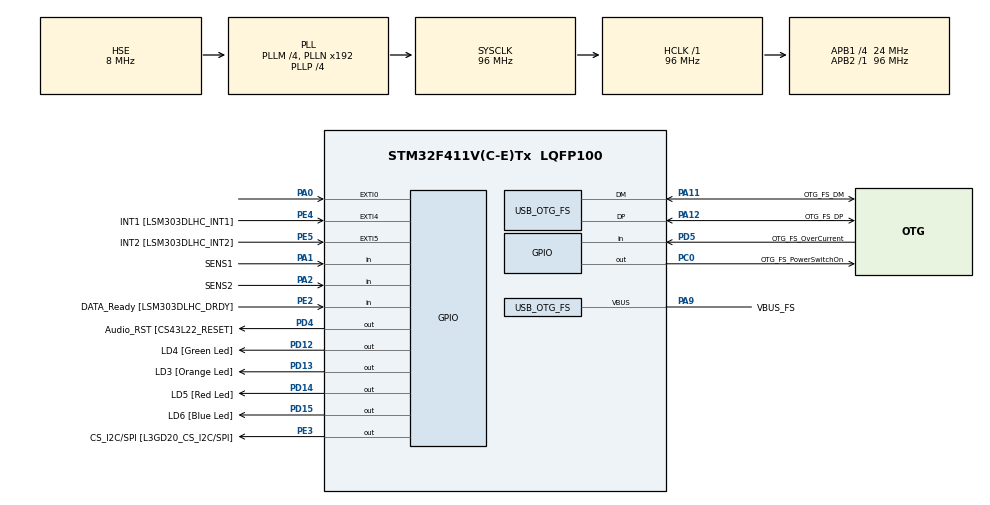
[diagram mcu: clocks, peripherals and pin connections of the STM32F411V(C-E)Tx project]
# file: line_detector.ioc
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Mcu.Family=STM32F4
Mcu.Name=STM32F411V(C-E)Tx
Mcu.Package=LQFP100
NVIC.OTG_FS_IRQn=true\:0\:0\:false\:false\:true\:true\:true\:true
NVIC.PriorityGroup=NVIC_PRIORITYGROUP_0
NVIC.TIM2_IRQn=true\:0\:0\:false\:false\:true\:true\:true\:true
PA0-WKUP.GPIO_ModeDefaultEXTI=GPIO_MODE_EVT_RISING
PA0-WKUP.Signal=GPXTI0
PA1.GPIO_Label=SENS1
PA1.Signal=GPIO_Input
PA10.GPIO_Label=OTG_FS_ID
PA10.Signal=USB_OTG_FS_ID
PA11.GPIO_Label=OTG_FS_DM
PA11.Mode=Device_Only
PA11.Signal=USB_OTG_FS_DM
PA12.GPIO_Label=OTG_FS_DP
PA12.Mode=Device_Only
PA12.Signal=USB_OTG_FS_DP
PA13.GPIO_Label=SWDIO
PA13.Mode=Serial_Wire
PA13.Signal=SYS_JTMS-SWDIO
PA14.GPIO_Label=SWCLK
PA14.Mode=Serial_Wire
PA14.Signal=SYS_JTCK-SWCLK
PA2.GPIO_Label=SENS2
PA2.Signal=GPIO_Input
PA4.GPIO_Label=I2S3_WS [CS43L22_LRCK]
PA4.GPIO_Mode=GPIO_MODE_AF_PP
PA4.GPIO_PuPd=GPIO_NOPULL
PA4.GPIO_Speed=GPIO_SPEED_FREQ_LOW
PA4.Signal=I2S3_WS
PA5.GPIO_Label=SPI1_SCK [L3GD20_SC/SPC]
PA5.Signal=SPI1_SCK
PA6.GPIO_Label=SPI1_MISO [L3GD20_AS0/SDO]
PA6.Signal=SPI1_MISO
PA7.GPIO_Label=SPI1_MOSI [L3GD20_SDA/SDI/SDO]
PA7.Signal=SPI1_MOSI
PA9.GPIO_Label=VBUS_FS
PA9.Mode=Activate_VBUS
PA9.Signal=USB_OTG_FS_VBUS
PB10.GPIO_Label=CLK_IN [MP45DT02_CLK]
PB10.Signal=I2S2_CK
PB12.Signal=I2S2_WS
PB3.GPIO_Label=SWO
PB3.Signal=SYS_JTDO-SWO
PB6.GPIO_Label=Audio_SCL [CS43L22_SCL]
PB6.GPIO_Mode=GPIO_MODE_AF_OD
PB6.GPIO_Pu=GPIO_PULLUP
PB6.GPIO_PuPd=GPIO_NOPULL
PB6.GPIO_Speed=GPIO_SPEED_FREQ_LOW
PB6.Signal=I2C1_SCL
PB9.GPIO_Label=Audio_SDA [CS43L22_SDA]
PB9.GPIO_Mode=GPIO_MODE_AF_OD
PB9.GPIO_Pu=GPIO_PULLUP
PB9.GPIO_PuPd=GPIO_NOPULL
PB9.GPIO_Speed=GPIO_SPEED_FREQ_LOW
PB9.Signal=I2C1_SDA
PC0.GPIO_Label=OTG_FS_PowerSwitchOn
PC0.PinState=GPIO_PIN_SET
PC0.Signal=GPIO_Output
PC10.GPIO_Label=I2S3_SCK [CS43L22_SCLK]
PC10.GPIO_Mode=GPIO_MODE_AF_PP
PC10.GPIO_PuPd=GPIO_NOPULL
PC10.GPIO_Speed=GPIO_SPEED_FREQ_LOW
PC10.Signal=I2S3_CK
PC12.GPIO_Label=I2S3_SD [CS43L22_SDIN]
PC12.GPIO_Mode=GPIO_MODE_AF_PP
PC12.GPIO_PuPd=GPIO_NOPULL
PC12.GPIO_Speed=GPIO_SPEED_FREQ_LOW
PC12.Signal=I2S3_SD
PC14-OSC32_IN.GPIO_Label=PC14-OSC32_IN
PC14-OSC32_IN.Signal=RCC_OSC32_IN
PC15-OSC32_OUT.GPIO_Label=PC15-OSC32_OUT
PC15-OSC32_OUT.Signal=RCC_OSC32_OUT
PC3.GPIO_Label=PDM_OUT [MP45DT02_DOUT]
PC3.Signal=I2S2_SD
PC7.GPIO_Label=I2S3_MCK [CS43L22_MCLK]
PC7.GPIO_Mode=GPIO_MODE_AF_PP
PC7.GPIO_PuPd=GPIO_NOPULL
PC7.GPIO_Speed=GPIO_SPEED_FREQ_LOW
PC7.Signal=I2S3_MCK
PD12.GPIO_Label=LD4 [Green Led]
PD12.GPIO_PuPd=GPIO_NOPULL
PD12.GPIO_Speed=GPIO_SPEED_FREQ_LOW
PD12.Signal=GPIO_Output
PD13.GPIO_Label=LD3 [Orange Led]
PD13.GPIO_PuPd=GPIO_NOPULL
PD13.GPIO_Speed=GPIO_SPEED_FREQ_LOW
PD13.Signal=GPIO_Output
PD14.GPIO_Label=LD5 [Red Led]
PD14.GPIO_PuPd=GPIO_NOPULL
PD14.GPIO_Speed=GPIO_SPEED_FREQ_LOW
PD14.Signal=GPIO_Output
PD15.GPIO_Label=LD6 [Blue Led]
PD15.GPIO_PuPd=GPIO_NOPULL
PD15.GPIO_Speed=GPIO_SPEED_FREQ_LOW
PD15.Signal=GPIO_Output
PD4.GPIO_Label=Audio_RST [CS43L22_RESET]
PD4.Signal=GPIO_Output
PD5.GPIO_Label=OTG_FS_OverCurrent
PD5.Signal=GPIO_Input
PE2.GPIO_Label=DATA_Ready [LSM303DLHC_DRDY]
PE2.Signal=GPIO_Input
PE3.GPIO_Label=CS_I2C/SPI [L3GD20_CS_I2C/SPI]
PE3.Signal=GPIO_Output
PE4.GPIO_Label=INT1 [LSM303DLHC_INT1]
PE4.GPIO_ModeDefaultEXTI=GPIO_MODE_EVT_RISING
PE4.Signal=GPXTI4
PE5.GPIO_Label=INT2 [LSM303DLHC_INT2]
PE5.GPIO_ModeDefaultEXTI=GPIO_MODE_EVT_RISING
PE5.Signal=GPXTI5
PH0\ -\ OSC_IN.GPIO_Label=PH0-OSC_IN
PH0\ -\ OSC_IN.Mode=HSE-External-Oscillator
PH0\ -\ OSC_IN.Signal=RCC_OSC_IN
PH1\ -\ OSC_OUT.GPIO_Label=PH1-OSC_OUT
PH1\ -\ OSC_OUT.Mode=HSE-External-Oscillator
PH1\ -\ OSC_OUT.Signal=RCC_OSC_OUT
ProjectManager.HeapSize=0x200
ProjectManager.StackSize=0x400
ProjectManager.TargetToolchain=MDK-ARM V5.32
RCC.48MHZClocksFreq_Value=48000000
RCC.AHBFreq_Value=96000000
RCC.APB1CLKDivider=RCC_HCLK_DIV4
RCC.APB1Freq_Value=24000000
RCC.APB1TimFreq_Value=48000000
RCC.APB2Freq_Value=96000000
RCC.APB2TimFreq_Value=96000000
RCC.CortexFreq_Value=96000000
RCC.HCLKFreq_Value=96000000
RCC.HSE_VALUE=8000000
RCC.HSI_VALUE=16000000
RCC.LSE_VALUE=32768
RCC.PLLI2SM=5
RCC.PLLI2SN=200
RCC.PLLM=4
RCC.PLLP=RCC_PLLP_DIV4
RCC.PLLQ=8
RCC.SYSCLKFreq_VALUE=96000000
RCC.SYSCLKSource=RCC_SYSCLKSOURCE_PLLCLK
RCC.VCOOutputFreq_Value=384000000
TIM2.Period=100000-1
TIM2.Prescaler=48-1
USB_DEVICE.CLASS_NAME_FS=CDC
USB_DEVICE.VirtualMode=Cdc
USB_DEVICE.VirtualModeFS=Cdc_FS
USB_OTG_FS.VirtualMode=Device_Only
VP_TIM2_VS_ClockSourceINT.Mode=Internal
VP_USB_DEVICE_VS_USB_DEVICE_CDC_FS.Mode=CDC_FS
board=STM32F411E-DISCO

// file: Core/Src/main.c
/* USER CODE BEGIN Header */
/**
  ******************************************************************************
  * @file           : main.c
  * @brief          : Main program body
  ******************************************************************************
  * @attention
  *
  * Copyright (c) 2025 STMicroelectronics.
  * All rights reserved.
  *
  * This software is licensed under terms that can be found in the LICENSE file
  * in the root directory of this software component.
  * If no LICENSE file comes with this software, it is provided AS-IS.
  *
  ******************************************************************************
  */
/* USER CODE END Header */
#include "main.h"
#include "usb_device.h"

/* USER CODE BEGIN Includes */
#include "usbd_cdc_if.h"
#include "string.h"
/* USER CODE END Includes */

TIM_HandleTypeDef htim2;

/* USER CODE BEGIN PV */
uint8_t sens_state[2] = {0,0};
uint8_t update_flag = 0;
char buff[30];
/* USER CODE END PV */

void SystemClock_Config(void);
static void MX_GPIO_Init(void);
static void MX_TIM2_Init(void);

/* USER CODE BEGIN 0 */
void HAL_TIM_PeriodElapsedCallback(TIM_HandleTypeDef *htim) {
	if (htim->Instance == TIM2) {
		if (!update_flag) {
			sens_state[0] = HAL_GPIO_ReadPin(SENS1_GPIO_Port, SENS1_Pin);
			sens_state[1] = HAL_GPIO_ReadPin(SENS2_GPIO_Port, SENS2_Pin);
			update_flag = 1;
		}
	}
}

void sens_data_transmition() {
	if (update_flag) {
		sprintf(buff, "first=%d, second=%d \n\r", sens_state[0], sens_state[1]);
		CDC_Transmit_FS((uint8_t *)buff, strlen(buff));
		update_flag = 0;
	}
}

/* USER CODE END 0 */

int main(void)
{

  /* MCU Configuration--------------------------------------------------------*/

  /* Reset of all peripherals, Initializes the Flash interface and the Systick. */
  HAL_Init();

  /* Configure the system clock */
  SystemClock_Config();

  /* Initialize all configured peripherals */
  MX_GPIO_Init();
  MX_USB_DEVICE_Init();
  MX_TIM2_Init();
  /* USER CODE BEGIN 2 */
	HAL_TIM_Base_Start_IT(&htim2);
  /* USER CODE END 2 */

  /* Infinite loop */
  /* USER CODE BEGIN WHILE */
  while (1)
  {
		sens_data_transmition();
    /* USER CODE END WHILE */

  }
}

void SystemClock_Config(void)
{
  RCC_OscInitTypeDef RCC_OscInitStruct = {0};
  RCC_ClkInitTypeDef RCC_ClkInitStruct = {0};

  /** Configure the main internal regulator output voltage
  */
  __HAL_RCC_PWR_CLK_ENABLE();
  __HAL_PWR_VOLTAGESCALING_CONFIG(PWR_REGULATOR_VOLTAGE_SCALE1);

  /** Initializes the RCC Oscillators according to the specified parameters
  * in the RCC_OscInitTypeDef structure.
  */
  RCC_OscInitStruct.OscillatorType = RCC_OSCILLATORTYPE_HSE;
  RCC_OscInitStruct.HSEState = RCC_HSE_ON;
  RCC_OscInitStruct.PLL.PLLState = RCC_PLL_ON;
  RCC_OscInitStruct.PLL.PLLSource = RCC_PLLSOURCE_HSE;
  RCC_OscInitStruct.PLL.PLLM = 4;
  RCC_OscInitStruct.PLL.PLLN = 192;
  RCC_OscInitStruct.PLL.PLLP = RCC_PLLP_DIV4;
  RCC_OscInitStruct.PLL.PLLQ = 8;
  if (HAL_RCC_OscConfig(&RCC_OscInitStruct) != HAL_OK)
  {
    Error_Handler();
  }

  /** Initializes the CPU, AHB and APB buses clocks
  */
  RCC_ClkInitStruct.ClockType = RCC_CLOCKTYPE_HCLK|RCC_CLOCKTYPE_SYSCLK
                              |RCC_CLOCKTYPE_PCLK1|RCC_CLOCKTYPE_PCLK2;
  RCC_ClkInitStruct.SYSCLKSource = RCC_SYSCLKSOURCE_PLLCLK;
  RCC_ClkInitStruct.AHBCLKDivider = RCC_SYSCLK_DIV1;
  RCC_ClkInitStruct.APB1CLKDivider = RCC_HCLK_DIV4;
  RCC_ClkInitStruct.APB2CLKDivider = RCC_HCLK_DIV1;

  if (HAL_RCC_ClockConfig(&RCC_ClkInitStruct, FLASH_LATENCY_3) != HAL_OK)
  {
    Error_Handler();
  }
}

static void MX_TIM2_Init(void)
{

  TIM_ClockConfigTypeDef sClockSourceConfig = {0};
  TIM_MasterConfigTypeDef sMasterConfig = {0};

  htim2.Instance = TIM2;
  htim2.Init.Prescaler = 48-1;
  htim2.Init.CounterMode = TIM_COUNTERMODE_UP;
  htim2.Init.Period = 100000-1;
  htim2.Init.ClockDivision = TIM_CLOCKDIVISION_DIV1;
  htim2.Init.AutoReloadPreload = TIM_AUTORELOAD_PRELOAD_DISABLE;
  if (HAL_TIM_Base_Init(&htim2) != HAL_OK)
  {
    Error_Handler();
  }
  sClockSourceConfig.ClockSource = TIM_CLOCKSOURCE_INTERNAL;
  if (HAL_TIM_ConfigClockSource(&htim2, &sClockSourceConfig) != HAL_OK)
  {
    Error_Handler();
  }
  sMasterConfig.MasterOutputTrigger = TIM_TRGO_RESET;
  sMasterConfig.MasterSlaveMode = TIM_MASTERSLAVEMODE_DISABLE;
  if (HAL_TIMEx_MasterConfigSynchronization(&htim2, &sMasterConfig) != HAL_OK)
  {
    Error_Handler();
  }

}

static void MX_GPIO_Init(void)
{
  GPIO_InitTypeDef GPIO_InitStruct = {0};

  /* GPIO Ports Clock Enable */
  __HAL_RCC_GPIOE_CLK_ENABLE();
  __HAL_RCC_GPIOC_CLK_ENABLE();
  __HAL_RCC_GPIOH_CLK_ENABLE();
  __HAL_RCC_GPIOA_CLK_ENABLE();
  __HAL_RCC_GPIOB_CLK_ENABLE();
  __HAL_RCC_GPIOD_CLK_ENABLE();

  /*Configure GPIO pin Output Level */
  HAL_GPIO_WritePin(CS_I2C_SPI_GPIO_Port, CS_I2C_SPI_Pin, GPIO_PIN_RESET);

  /*Configure GPIO pin Output Level */
  HAL_GPIO_WritePin(OTG_FS_PowerSwitchOn_GPIO_Port, OTG_FS_PowerSwitchOn_Pin, GPIO_PIN_SET);

  /*Configure GPIO pin Output Level */
  HAL_GPIO_WritePin(GPIOD, LD4_Pin|LD3_Pin|LD5_Pin|LD6_Pin
                          |Audio_RST_Pin, GPIO_PIN_RESET);

  /*Configure GPIO pin : DATA_Ready_Pin */
  GPIO_InitStruct.Pin = DATA_Ready_Pin;
  GPIO_InitStruct.Mode = GPIO_MODE_INPUT;
  GPIO_InitStruct.Pull = GPIO_NOPULL;
  HAL_GPIO_Init(DATA_Ready_GPIO_Port, &GPIO_InitStruct);

  /*Configure GPIO pin : CS_I2C_SPI_Pin */
  GPIO_InitStruct.Pin = CS_I2C_SPI_Pin;
  GPIO_InitStruct.Mode = GPIO_MODE_OUTPUT_PP;
  GPIO_InitStruct.Pull = GPIO_NOPULL;
  GPIO_InitStruct.Speed = GPIO_SPEED_FREQ_LOW;
  HAL_GPIO_Init(CS_I2C_SPI_GPIO_Port, &GPIO_InitStruct);

  /*Configure GPIO pins : INT1_Pin INT2_Pin */
  GPIO_InitStruct.Pin = INT1_Pin|INT2_Pin;
  GPIO_InitStruct.Mode = GPIO_MODE_EVT_RISING;
  GPIO_InitStruct.Pull = GPIO_NOPULL;
  HAL_GPIO_Init(GPIOE, &GPIO_InitStruct);

  /*Configure GPIO pin : OTG_FS_PowerSwitchOn_Pin */
  GPIO_InitStruct.Pin = OTG_FS_PowerSwitchOn_Pin;
  GPIO_InitStruct.Mode = GPIO_MODE_OUTPUT_PP;
  GPIO_InitStruct.Pull = GPIO_NOPULL;
  GPIO_InitStruct.Speed = GPIO_SPEED_FREQ_LOW;
  HAL_GPIO_Init(OTG_FS_PowerSwitchOn_GPIO_Port, &GPIO_InitStruct);

  /*Configure GPIO pin : PDM_OUT_Pin */
  GPIO_InitStruct.Pin = PDM_OUT_Pin;
  GPIO_InitStruct.Mode = GPIO_MODE_AF_PP;
  GPIO_InitStruct.Pull = GPIO_NOPULL;
  GPIO_InitStruct.Speed = GPIO_SPEED_FREQ_LOW;
  GPIO_InitStruct.Alternate = GPIO_AF5_SPI2;
  HAL_GPIO_Init(PDM_OUT_GPIO_Port, &GPIO_InitStruct);

  /*Configure GPIO pin : PA0 */
  GPIO_InitStruct.Pin = GPIO_PIN_0;
  GPIO_InitStruct.Mode = GPIO_MODE_EVT_RISING;
  GPIO_InitStruct.Pull = GPIO_NOPULL;
  HAL_GPIO_Init(GPIOA, &GPIO_InitStruct);

  /*Configure GPIO pins : SENS1_Pin SENS2_Pin */
  GPIO_InitStruct.Pin = SENS1_Pin|SENS2_Pin;
  GPIO_InitStruct.Mode = GPIO_MODE_INPUT;
  GPIO_InitStruct.Pull = GPIO_NOPULL;
  HAL_GPIO_Init(GPIOA, &GPIO_InitStruct);

  /*Configure GPIO pin : I2S3_WS_Pin */
  GPIO_InitStruct.Pin = I2S3_WS_Pin;
  GPIO_InitStruct.Mode = GPIO_MODE_AF_PP;
  GPIO_InitStruct.Pull = GPIO_NOPULL;
  GPIO_InitStruct.Speed = GPIO_SPEED_FREQ_LOW;
  GPIO_InitStruct.Alternate = GPIO_AF6_SPI3;
  HAL_GPIO_Init(I2S3_WS_GPIO_Port, &GPIO_InitStruct);

  /*Configure GPIO pins : SPI1_SCK_Pin SPI1_MISO_Pin SPI1_MOSI_Pin */
  GPIO_InitStruct.Pin = SPI1_SCK_Pin|SPI1_MISO_Pin|SPI1_MOSI_Pin;
  GPIO_InitStruct.Mode = GPIO_MODE_AF_PP;
  GPIO_InitStruct.Pull = GPIO_NOPULL;
  GPIO_InitStruct.Speed = GPIO_SPEED_FREQ_VERY_HIGH;
  GPIO_InitStruct.Alternate = GPIO_AF5_SPI1;
  HAL_GPIO_Init(GPIOA, &GPIO_InitStruct);

  /*Configure GPIO pins : CLK_IN_Pin PB12 */
  GPIO_InitStruct.Pin = CLK_IN_Pin|GPIO_PIN_12;
  GPIO_InitStruct.Mode = GPIO_MODE_AF_PP;
  GPIO_InitStruct.Pull = GPIO_NOPULL;
  GPIO_InitStruct.Speed = GPIO_SPEED_FREQ_LOW;
  GPIO_InitStruct.Alternate = GPIO_AF5_SPI2;
  HAL_GPIO_Init(GPIOB, &GPIO_InitStruct);

  /*Configure GPIO pins : LD4_Pin LD3_Pin LD5_Pin LD6_Pin
                           Audio_RST_Pin */
  GPIO_InitStruct.Pin = LD4_Pin|LD3_Pin|LD5_Pin|LD6_Pin
                          |Audio_RST_Pin;
  GPIO_InitStruct.Mode = GPIO_MODE_OUTPUT_PP;
  GPIO_InitStruct.Pull = GPIO_NOPULL;
  GPIO_InitStruct.Speed = GPIO_SPEED_FREQ_LOW;
  HAL_GPIO_Init(GPIOD, &GPIO_InitStruct);

  /*Configure GPIO pins : I2S3_MCK_Pin I2S3_SCK_Pin I2S3_SD_Pin */
  GPIO_InitStruct.Pin = I2S3_MCK_Pin|I2S3_SCK_Pin|I2S3_SD_Pin;
  GPIO_InitStruct.Mode = GPIO_MODE_AF_PP;
  GPIO_InitStruct.Pull = GPIO_NOPULL;
  GPIO_InitStruct.Speed = GPIO_SPEED_FREQ_LOW;
  GPIO_InitStruct.Alternate = GPIO_AF6_SPI3;
  HAL_GPIO_Init(GPIOC, &GPIO_InitStruct);

  /*Configure GPIO pin : OTG_FS_OverCurrent_Pin */
  GPIO_InitStruct.Pin = OTG_FS_OverCurrent_Pin;
  GPIO_InitStruct.Mode = GPIO_MODE_INPUT;
  GPIO_InitStruct.Pull = GPIO_NOPULL;
  HAL_GPIO_Init(OTG_FS_OverCurrent_GPIO_Port, &GPIO_InitStruct);

  /*Configure GPIO pins : Audio_SCL_Pin Audio_SDA_Pin */
  GPIO_InitStruct.Pin = Audio_SCL_Pin|Audio_SDA_Pin;
  GPIO_InitStruct.Mode = GPIO_MODE_AF_OD;
  GPIO_InitStruct.Pull = GPIO_PULLUP;
  GPIO_InitStruct.Speed = GPIO_SPEED_FREQ_LOW;
  GPIO_InitStruct.Alternate = GPIO_AF4_I2C1;
  HAL_GPIO_Init(GPIOB, &GPIO_InitStruct);

}

void Error_Handler(void)
{
  __disable_irq();
  while (1)
  {
  }
}
